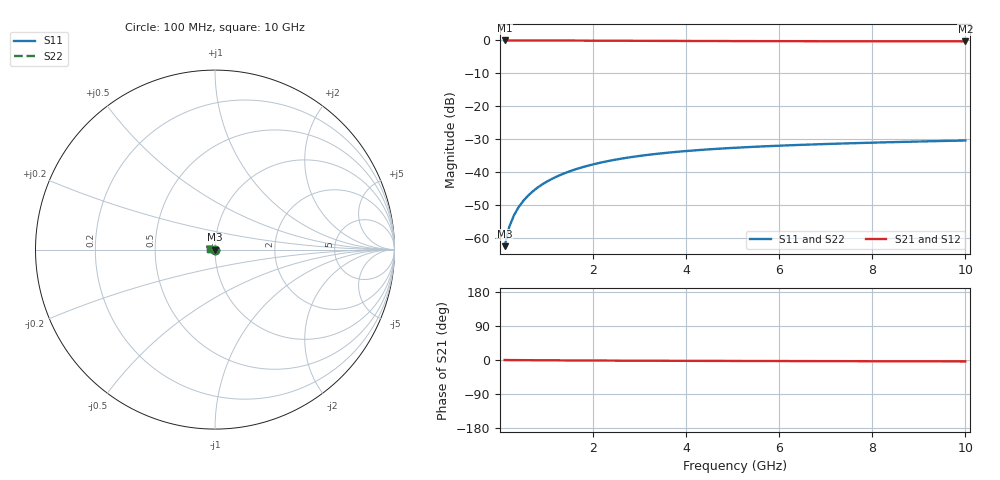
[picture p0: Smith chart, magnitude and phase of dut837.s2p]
! Touchstone file exported from HFSS 2024.1.0
!  File:  C:/UserFiles/LocalFiles/RDL_TSV_Batchsim/temp_TSV1_837_1779879774.aedt
!  Generated:  07:08:38 PM May 27, 2026
!  Design:  TSV1
!  Project:  temp_TSV1_837_1779879774
!  Setup:  Setup1
!  Solution:  Sweep
! Variables:
!  dtsv = 7.86um
!  hbump = 3um
!  htsv = 56.19um
!  lrdl = 252.1521522um
!  p = 40
!  p1 = 42.39um
!  t = 500um
!  trdl = 3um
!  wrdl = 24.89489489um
# GHz S MA R 50.000000
! Terminal data exported
! Port[1] = TSV22_T1
! Port[2] = TSV22_T2
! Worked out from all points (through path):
!   100 points, 100 MHz to 10 GHz, reference 50 ohm
!   highest |S21| = 0.00 dB at 100 MHz (marker M1); lowest = -0.3 dB at 10 GHz (marker M2)
!   lowest |S11| = -62.6 dB at 100 MHz (marker M3), VSWR 1.00, Z = 50 - j0.0721 ohm
!   |S11| at or under -10 dB: start of sweep to end of sweep
!   |S22| runs from -62.6 to -30.4 dB; largest |S21 - S12| = 2.2e-15
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0.1  0.0007407 -76.7  0.9998 -0.1  0.9998 -0.1  0.0007407 -76.7
! Gamma 0 0 0 0
! Port Impedance 50 0 50 0
0.2  0.00146 -85.7  0.9997 -0.2  0.9997 -0.2  0.00146 -85.7
0.3  0.002182 -90.0  0.9996 -0.2  0.9996 -0.2  0.002182 -90.0
0.4  0.0029 -93.0  0.9994 -0.3  0.9994 -0.3  0.0029 -93.0
0.5  0.003614 -95.5  0.9992 -0.4  0.9992 -0.4  0.003614 -95.5
0.6  0.004321 -97.7  0.999 -0.5  0.999 -0.5  0.004321 -97.7
0.7  0.00502 -99.8  0.9987 -0.6  0.9987 -0.6  0.00502 -99.8
0.8  0.00571 -101.8  0.9984 -0.6  0.9984 -0.6  0.00571 -101.8
0.9  0.00639 -103.6  0.998 -0.7  0.998 -0.7  0.00639 -103.6
1.1  0.007716 -107.2  0.9972 -0.9  0.9972 -0.9  0.007716 -107.2
1.4  0.009609 -112.3  0.9958 -1.1  0.9958 -1.1  0.009609 -112.3
1.6  0.0108 -115.5  0.9948 -1.2  0.9948 -1.2  0.0108 -115.5
1.8  0.01193 -118.6  0.9937 -1.3  0.9937 -1.3  0.01193 -118.6
2.1  0.01352 -123.0  0.9921 -1.5  0.9921 -1.5  0.01352 -123.0
2.5  0.01542 -128.5  0.9898 -1.7  0.9898 -1.7  0.01542 -128.5
2.9  0.0171 -133.6  0.9876 -1.8  0.9876 -1.8  0.0171 -133.6
3.4  0.01892 -139.3  0.9849 -2.0  0.9849 -2.0  0.01892 -139.3
4.2  0.02129 -147.5  0.9812 -2.3  0.9812 -2.3  0.02129 -147.5
5.1  0.02337 -155.3  0.9778 -2.6  0.9778 -2.6  0.02337 -155.3
6.7  0.02612 -166.6  0.9734 -3.0  0.9734 -3.0  0.02612 -166.6
8.4  0.02831 -176.3  0.9702 -3.4  0.9702 -3.4  0.02831 -176.3
10  0.03004 176.0  0.9681 -3.7  0.9681 -3.7  0.03004 176.0
